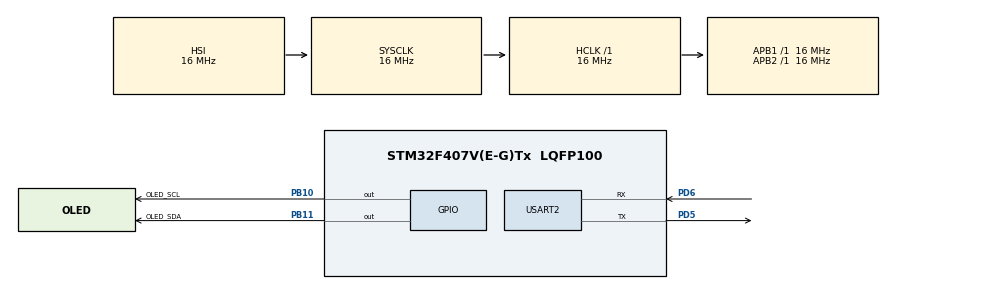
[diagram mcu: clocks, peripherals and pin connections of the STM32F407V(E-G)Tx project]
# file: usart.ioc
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Mcu.Family=STM32F4
Mcu.Name=STM32F407V(E-G)Tx
Mcu.Package=LQFP100
NVIC.PriorityGroup=NVIC_PRIORITYGROUP_4
PB10.GPIO_Label=OLED_SCL
PB10.Signal=GPIO_Output
PB11.GPIO_Label=OLED_SDA
PB11.Signal=GPIO_Output
PD5.Mode=Asynchronous
PD5.Signal=USART2_TX
PD6.Mode=Asynchronous
PD6.Signal=USART2_RX
ProjectManager.HeapSize=0x200
ProjectManager.StackSize=0x400
ProjectManager.TargetToolchain=MDK-ARM V5.32
RCC.AHBFreq_Value=16000000
RCC.APB1Freq_Value=16000000
RCC.APB2Freq_Value=16000000
RCC.CortexFreq_Value=16000000
RCC.HSE_VALUE=25000000
RCC.HSI_VALUE=16000000
RCC.LSE_VALUE=32768
RCC.SYSCLKFreq_VALUE=16000000
RCC.VCOOutputFreq_Value=192000000
USART2.VirtualMode=VM_ASYNC
board=custom

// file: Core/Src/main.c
/* USER CODE BEGIN Header */
/**
  ******************************************************************************
  * @file           : main.c
  * @brief          : Main program body
  ******************************************************************************
  * @attention
  *
  * Copyright (c) 2024 STMicroelectronics.
  * All rights reserved.
  *
  * This software is licensed under terms that can be found in the LICENSE file
  * in the root directory of this software component.
  * If no LICENSE file comes with this software, it is provided AS-IS.
  *
  ******************************************************************************
  */
/* USER CODE END Header */
#include "main.h"
#include "usart.h"
#include "gpio.h"

/* USER CODE BEGIN Includes */
#include "OLED.h"
/* USER CODE END Includes */

/* USER CODE BEGIN PD */
extern uint8_t Rxchar,RxFlag;
extern unsigned char Rxbuf[10];
uint8_t locate[8][1];
/* USER CODE END PD */

void SystemClock_Config(void);
/* USER CODE BEGIN PFP */
void HAL_UART_RxCpltCallback(UART_HandleTypeDef *huart){
	if(huart==&huart2){
		if(RxFlag==1){
			switch(Rxbuf[0]){
				case '1':
					(Rxbuf[2]=='l')?(locate[0][0]=1):(locate[0][0]=2);
					break;
				case '2':
					(Rxbuf[2]=='l')?(locate[1][0]=1):(locate[1][0]=2);
					break;
				case '3':
					(Rxbuf[2]=='l')?(locate[2][0]=1):(locate[2][0]=2);
					break;
				case '4':
					(Rxbuf[2]=='l')?(locate[3][0]=1):(locate[3][0]=2);
					break;
				case '5':
					(Rxbuf[2]=='l')?(locate[4][0]=1):(locate[4][0]=2);
					break;
				case '6':
					(Rxbuf[2]=='l')?(locate[5][0]=1):(locate[5][0]=2);
					break;
				case '7':
					(Rxbuf[2]=='l')?(locate[6][0]=1):(locate[6][0]=2);
					break;
				case '8':
					(Rxbuf[2]=='l')?(locate[7][0]=1):(locate[7][0]=2);
					break;
			}
		}
	}
}
/* USER CODE END PFP */

int main(void)
{

  /* MCU Configuration--------------------------------------------------------*/

  /* Reset of all peripherals, Initializes the Flash interface and the Systick. */
  HAL_Init();

  /* Configure the system clock */
  SystemClock_Config();

  /* Initialize all configured peripherals */
  MX_GPIO_Init();
  MX_USART2_UART_Init();
  /* USER CODE BEGIN 2 */
  OLED_Init();
	HAL_UART_Receive_IT(&huart2,&Rxchar,1);
	__HAL_UART_ENABLE_IT(&huart2,UART_IT_IDLE);
  /* USER CODE END 2 */

  /* Infinite loop */
  /* USER CODE BEGIN WHILE */
  while (1)
  {
		OLED_ShowString(1,1,"HELLO");
    /* USER CODE END WHILE */

  }
}

void SystemClock_Config(void)
{
  RCC_OscInitTypeDef RCC_OscInitStruct = {0};
  RCC_ClkInitTypeDef RCC_ClkInitStruct = {0};

  /** Configure the main internal regulator output voltage
  */
  __HAL_RCC_PWR_CLK_ENABLE();
  __HAL_PWR_VOLTAGESCALING_CONFIG(PWR_REGULATOR_VOLTAGE_SCALE1);

  /** Initializes the RCC Oscillators according to the specified parameters
  * in the RCC_OscInitTypeDef structure.
  */
  RCC_OscInitStruct.OscillatorType = RCC_OSCILLATORTYPE_HSI;
  RCC_OscInitStruct.HSIState = RCC_HSI_ON;
  RCC_OscInitStruct.HSICalibrationValue = RCC_HSICALIBRATION_DEFAULT;
  RCC_OscInitStruct.PLL.PLLState = RCC_PLL_NONE;
  if (HAL_RCC_OscConfig(&RCC_OscInitStruct) != HAL_OK)
  {
    Error_Handler();
  }

  /** Initializes the CPU, AHB and APB buses clocks
  */
  RCC_ClkInitStruct.ClockType = RCC_CLOCKTYPE_HCLK|RCC_CLOCKTYPE_SYSCLK
                              |RCC_CLOCKTYPE_PCLK1|RCC_CLOCKTYPE_PCLK2;
  RCC_ClkInitStruct.SYSCLKSource = RCC_SYSCLKSOURCE_HSI;
  RCC_ClkInitStruct.AHBCLKDivider = RCC_SYSCLK_DIV1;
  RCC_ClkInitStruct.APB1CLKDivider = RCC_HCLK_DIV1;
  RCC_ClkInitStruct.APB2CLKDivider = RCC_HCLK_DIV1;

  if (HAL_RCC_ClockConfig(&RCC_ClkInitStruct, FLASH_LATENCY_0) != HAL_OK)
  {
    Error_Handler();
  }
}

void Error_Handler(void)
{
  __disable_irq();
  while (1)
  {
  }
}
